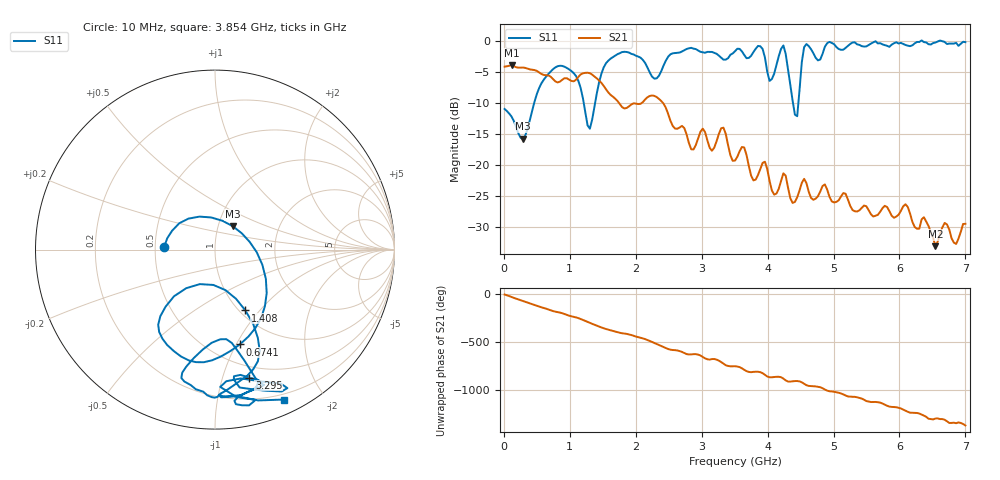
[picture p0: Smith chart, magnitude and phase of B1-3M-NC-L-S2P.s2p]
!File created by NanoVNA
# Hz S RI R 50
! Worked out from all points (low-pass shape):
!   201 points, 10 MHz to 7 GHz, reference 50 ohm
!   highest |S21| = -3.86 dB at 114.8 MHz (marker M1); lowest = -33.1 dB at 6.546 GHz (marker M2)
!   |S21| within 3 dB of the highest: start of sweep to 1.49 GHz
!   lowest |S11| = -15.7 dB at 289.6 MHz (marker M3), VSWR 1.39, Z = 58.6 + j15.7 ohm
!   |S11| at or under -10 dB: start of sweep to 457.6 MHz; 1.211 GHz to 1.382 GHz (170.7 MHz wide, 13.2 % of centre); 4.385 GHz to 4.466 GHz (80.63 MHz wide, 1.82 % of centre)
!   S12 and S22 are empty: the file has one direction only
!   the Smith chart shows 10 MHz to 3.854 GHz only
!   S11 on the Smith chart (normalised r, x): 10 MHz: 0.56, +0.01; 674 MHz: 0.69, -1.03; 1.408 GHz: 1.06, -0.84; 3.295 GHz: 0.39, -1.23; 3.854 GHz: 0.14, -1.55
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1e7  -0.2841 0.0122  0.6246 -0.0333  0 0  0 0
1.1485e8  -0.1987 0.147  0.5621 -0.308  0 0  0 0
2.896e8  0.0984 0.1306  0.208 -0.5792  0 0  0 0
6.7405e8  0.1385 -0.5283  -0.4985 -0.1839  0 0  0 0
1.1983e9  -0.2288 -0.2603  -0.00294 0.5527  0 0  0 0
1.408e9  0.1693 -0.3389  0.4341 0.2543  0 0  0 0
1.79245e9  0.0131 -0.8208  0.1921 -0.2232  0 0  0 0
2.35165e9  0.0935 -0.5199  -0.3409 -0.0404  0 0  0 0
3.2953e9  0.1916 -0.7135  0.1967 0.029  0 0  0 0
3.505e9  0.2784 -0.7861  0.0888 -0.0629  0 0  0 0
3.74965e9  0.029 -0.765  -0.0115 -0.0814  0 0  0 0
3.8545e9  0.3857 -0.8353  -0.00527 -0.0832  0 0  0 0
4.0642e9  -0.0981 -0.4868  -0.0549 -0.0298  0 0  0 0
4.23895e9  0.5454 -0.7512  -0.083 -0.0218  0 0  0 0
4.4137e9  0.2553 0.0179  -0.0495 0.0098  0 0  0 0
4.58845e9  0.657 -0.6911  -0.0417 0.0581  0 0  0 0
4.6933e9  0.7788 -0.1993  -0.0226 0.0474  0 0  0 0
4.903e9  0.7118 -0.6561  0.0236 0.0589  0 0  0 0
5.07775e9  0.8408 -0.2194  0.0359 0.0375  0 0  0 0
5.84665e9  0.8364 -0.3431  -0.00667 -0.042  0 0  0 0
6.54565e9  0.9545 -0.2238  -0.0158 0.0155  0 0  0 0
7e9  0.987 -0.019  0.0153 0.0298  0 0  0 0
